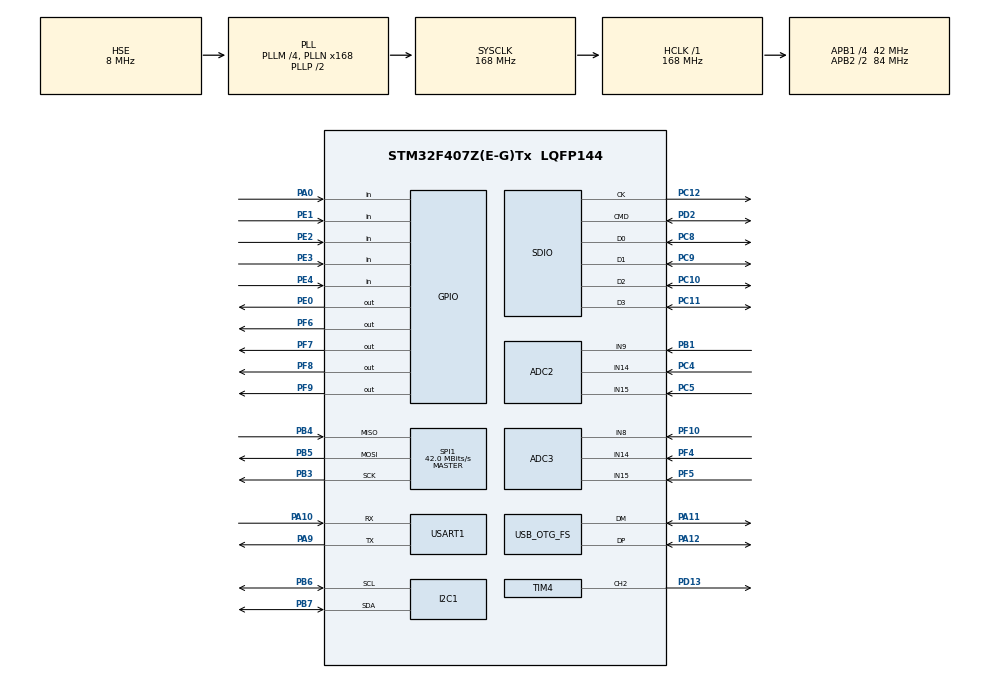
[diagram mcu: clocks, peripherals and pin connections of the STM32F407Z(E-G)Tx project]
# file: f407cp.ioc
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ADC2.Channel-0\#ChannelRegularConversion=ADC_CHANNEL_14
ADC2.ClockPrescaler=ADC_CLOCK_SYNC_PCLK_DIV4
ADC2.NbrOfConversionFlag=1
ADC2.Rank-0\#ChannelRegularConversion=1
ADC2.SamplingTime-0\#ChannelRegularConversion=ADC_SAMPLETIME_3CYCLES
ADC3.Channel-0\#ChannelRegularConversion=ADC_CHANNEL_8
ADC3.ClockPrescaler=ADC_CLOCK_SYNC_PCLK_DIV4
ADC3.NbrOfConversionFlag=1
ADC3.Rank-0\#ChannelRegularConversion=1
ADC3.SamplingTime-0\#ChannelRegularConversion=ADC_SAMPLETIME_3CYCLES
Dma.I2C1_RX.5.Direction=DMA_PERIPH_TO_MEMORY
Dma.I2C1_RX.5.FIFOMode=DMA_FIFOMODE_DISABLE
Dma.I2C1_RX.5.Instance=DMA1_Stream0
Dma.I2C1_RX.5.MemDataAlignment=DMA_MDATAALIGN_BYTE
Dma.I2C1_RX.5.MemInc=DMA_MINC_ENABLE
Dma.I2C1_RX.5.Mode=DMA_NORMAL
Dma.I2C1_RX.5.PeriphDataAlignment=DMA_PDATAALIGN_BYTE
Dma.I2C1_RX.5.PeriphInc=DMA_PINC_DISABLE
Dma.I2C1_RX.5.Priority=DMA_PRIORITY_LOW
Dma.I2C1_TX.4.Direction=DMA_MEMORY_TO_PERIPH
Dma.I2C1_TX.4.FIFOMode=DMA_FIFOMODE_DISABLE
Dma.I2C1_TX.4.Instance=DMA1_Stream6
Dma.I2C1_TX.4.MemDataAlignment=DMA_MDATAALIGN_BYTE
Dma.I2C1_TX.4.MemInc=DMA_MINC_ENABLE
Dma.I2C1_TX.4.Mode=DMA_NORMAL
Dma.I2C1_TX.4.PeriphDataAlignment=DMA_PDATAALIGN_BYTE
Dma.I2C1_TX.4.PeriphInc=DMA_PINC_DISABLE
Dma.I2C1_TX.4.Priority=DMA_PRIORITY_LOW
Dma.Request0=SDIO_RX
Dma.Request1=SDIO_TX
Dma.Request2=SPI1_RX
Dma.Request3=SPI1_TX
Dma.Request4=I2C1_TX
Dma.Request5=I2C1_RX
Dma.SDIO_RX.0.Direction=DMA_PERIPH_TO_MEMORY
Dma.SDIO_RX.0.FIFOMode=DMA_FIFOMODE_ENABLE
Dma.SDIO_RX.0.FIFOThreshold=DMA_FIFO_THRESHOLD_FULL
Dma.SDIO_RX.0.Instance=DMA2_Stream3
Dma.SDIO_RX.0.MemBurst=DMA_MBURST_INC4
Dma.SDIO_RX.0.MemDataAlignment=DMA_MDATAALIGN_WORD
Dma.SDIO_RX.0.MemInc=DMA_MINC_ENABLE
Dma.SDIO_RX.0.Mode=DMA_PFCTRL
Dma.SDIO_RX.0.PeriphBurst=DMA_PBURST_INC4
Dma.SDIO_RX.0.PeriphDataAlignment=DMA_PDATAALIGN_WORD
Dma.SDIO_RX.0.PeriphInc=DMA_PINC_DISABLE
Dma.SDIO_RX.0.Priority=DMA_PRIORITY_LOW
Dma.SDIO_TX.1.Direction=DMA_MEMORY_TO_PERIPH
Dma.SDIO_TX.1.FIFOMode=DMA_FIFOMODE_ENABLE
Dma.SDIO_TX.1.FIFOThreshold=DMA_FIFO_THRESHOLD_FULL
Dma.SDIO_TX.1.Instance=DMA2_Stream6
Dma.SDIO_TX.1.MemBurst=DMA_MBURST_INC4
Dma.SDIO_TX.1.MemDataAlignment=DMA_MDATAALIGN_WORD
Dma.SDIO_TX.1.MemInc=DMA_MINC_ENABLE
Dma.SDIO_TX.1.Mode=DMA_PFCTRL
Dma.SDIO_TX.1.PeriphBurst=DMA_PBURST_INC4
Dma.SDIO_TX.1.PeriphDataAlignment=DMA_PDATAALIGN_WORD
Dma.SDIO_TX.1.PeriphInc=DMA_PINC_DISABLE
Dma.SDIO_TX.1.Priority=DMA_PRIORITY_LOW
Dma.SPI1_RX.2.Direction=DMA_PERIPH_TO_MEMORY
Dma.SPI1_RX.2.FIFOMode=DMA_FIFOMODE_DISABLE
Dma.SPI1_RX.2.Instance=DMA2_Stream0
Dma.SPI1_RX.2.MemDataAlignment=DMA_MDATAALIGN_BYTE
Dma.SPI1_RX.2.MemInc=DMA_MINC_ENABLE
Dma.SPI1_RX.2.Mode=DMA_NORMAL
Dma.SPI1_RX.2.PeriphDataAlignment=DMA_PDATAALIGN_BYTE
Dma.SPI1_RX.2.PeriphInc=DMA_PINC_DISABLE
Dma.SPI1_RX.2.Priority=DMA_PRIORITY_LOW
Dma.SPI1_TX.3.Direction=DMA_MEMORY_TO_PERIPH
Dma.SPI1_TX.3.FIFOMode=DMA_FIFOMODE_DISABLE
Dma.SPI1_TX.3.Instance=DMA2_Stream5
Dma.SPI1_TX.3.MemDataAlignment=DMA_MDATAALIGN_BYTE
Dma.SPI1_TX.3.MemInc=DMA_MINC_ENABLE
Dma.SPI1_TX.3.Mode=DMA_NORMAL
Dma.SPI1_TX.3.PeriphDataAlignment=DMA_PDATAALIGN_BYTE
Dma.SPI1_TX.3.PeriphInc=DMA_PINC_DISABLE
Dma.SPI1_TX.3.Priority=DMA_PRIORITY_LOW
FATFS.BSP.number=1
FATFS.USE_DMA_CODE_SD=1
FATFS._FS_EXFAT=0
FATFS._MAX_LFN=64
FATFS._USE_LFN=2
FATFS._USE_MKFS=1
FATFS0.BSP.STBoard=false
FATFS0.BSP.api=Unknown
FATFS0.BSP.instance=PE1
FATFS0.BSP.ip=GPIO
FATFS0.BSP.mode=Input
FATFS0.BSP.name=Detect_SDIO
FATFS0.BSP.solution=PE1
Mcu.Family=STM32F4
Mcu.Name=STM32F407Z(E-G)Tx
Mcu.Package=LQFP144
NVIC.DMA1_Stream0_IRQn=true\:0\:0\:false\:false\:true\:false\:true\:true
NVIC.DMA1_Stream6_IRQn=true\:0\:0\:false\:false\:true\:false\:true\:true
NVIC.DMA2_Stream0_IRQn=true\:0\:0\:false\:false\:true\:false\:true\:true
NVIC.DMA2_Stream3_IRQn=true\:0\:0\:false\:false\:true\:false\:true\:true
NVIC.DMA2_Stream5_IRQn=true\:0\:0\:false\:false\:true\:false\:true\:true
NVIC.DMA2_Stream6_IRQn=true\:0\:0\:false\:false\:true\:false\:true\:true
NVIC.I2C1_ER_IRQn=true\:0\:0\:false\:false\:true\:true\:true\:true
NVIC.I2C1_EV_IRQn=true\:0\:0\:false\:false\:true\:true\:true\:true
NVIC.OTG_FS_IRQn=true\:0\:0\:false\:false\:true\:false\:true\:true
NVIC.PriorityGroup=NVIC_PRIORITYGROUP_4
NVIC.USART1_IRQn=true\:0\:0\:false\:false\:true\:true\:true\:true
PA0-WKUP.GPIO_PuPd=GPIO_PULLUP
PA0-WKUP.Signal=GPIO_Input
PA10.Mode=Asynchronous
PA10.Signal=USART1_RX
PA11.Mode=Device_Only
PA11.Signal=USB_OTG_FS_DM
PA12.Mode=Device_Only
PA12.Signal=USB_OTG_FS_DP
PA13.Mode=Serial_Wire
PA13.Signal=SYS_JTMS-SWDIO
PA14.Mode=Serial_Wire
PA14.Signal=SYS_JTCK-SWCLK
PA9.Mode=Asynchronous
PA9.Signal=USART1_TX
PB1.Signal=ADCx_IN9
PB3.Mode=Full_Duplex_Master
PB3.Signal=SPI1_SCK
PB4.Mode=Full_Duplex_Master
PB4.Signal=SPI1_MISO
PB5.Mode=Full_Duplex_Master
PB5.Signal=SPI1_MOSI
PB6.Mode=I2C
PB6.Signal=I2C1_SCL
PB7.Mode=I2C
PB7.Signal=I2C1_SDA
PC10.GPIO_PuPd=GPIO_PULLUP
PC10.Mode=SD_4_bits_Wide_bus
PC10.Signal=SDIO_D2
PC11.GPIO_PuPd=GPIO_PULLUP
PC11.Mode=SD_4_bits_Wide_bus
PC11.Signal=SDIO_D3
PC12.GPIO_PuPd=GPIO_PULLUP
PC12.Mode=SD_4_bits_Wide_bus
PC12.Signal=SDIO_CK
PC14-OSC32_IN.Mode=LSE-External-Oscillator
PC14-OSC32_IN.Signal=RCC_OSC32_IN
PC15-OSC32_OUT.Mode=LSE-External-Oscillator
PC15-OSC32_OUT.Signal=RCC_OSC32_OUT
PC4.Signal=ADCx_IN14
PC5.Signal=ADCx_IN15
PC8.GPIO_PuPd=GPIO_PULLUP
PC8.Mode=SD_4_bits_Wide_bus
PC8.Signal=SDIO_D0
PC9.GPIO_PuPd=GPIO_PULLUP
PC9.Mode=SD_4_bits_Wide_bus
PC9.Signal=SDIO_D1
PD13.Signal=S_TIM4_CH2
PD2.GPIO_PuPd=GPIO_PULLUP
PD2.Mode=SD_4_bits_Wide_bus
PD2.Signal=SDIO_CMD
PE0.Signal=GPIO_Output
PE1.GPIO_PuPd=GPIO_PULLUP
PE1.Signal=GPIO_Input
PE10.Signal=TIM1_CH2N
PE11.Signal=S_TIM1_CH2
PE12.Signal=TIM1_CH3N
PE13.Signal=S_TIM1_CH3
PE2.GPIO_PuPd=GPIO_PULLUP
PE2.Signal=GPIO_Input
PE3.GPIO_PuPd=GPIO_PULLUP
PE3.Signal=GPIO_Input
PE4.GPIO_PuPd=GPIO_PULLUP
PE4.Signal=GPIO_Input
PE8.Signal=TIM1_CH1N
PE9.Signal=S_TIM1_CH1
PF10.Mode=IN8
PF10.Signal=ADC3_IN8
PF4.Mode=IN14
PF4.Signal=ADC3_IN14
PF5.Mode=IN15
PF5.Signal=ADC3_IN15
PF6.GPIO_PuPd=GPIO_NOPULL
PF6.PinState=GPIO_PIN_RESET
PF6.Signal=GPIO_Output
PF7.PinState=GPIO_PIN_RESET
PF7.Signal=GPIO_Output
PF8.PinState=GPIO_PIN_RESET
PF8.Signal=GPIO_Output
PF9.GPIO_PuPd=GPIO_NOPULL
PF9.PinState=GPIO_PIN_RESET
PF9.Signal=GPIO_Output
PH0-OSC_IN.Mode=HSE-External-Oscillator
PH0-OSC_IN.Signal=RCC_OSC_IN
PH1-OSC_OUT.Mode=HSE-External-Oscillator
PH1-OSC_OUT.Signal=RCC_OSC_OUT
ProjectManager.HeapSize=0x200
ProjectManager.StackSize=0x1000
ProjectManager.TargetToolchain=CMake
RCC.48MHZClocksFreq_Value=48000000
RCC.AHBFreq_Value=168000000
RCC.APB1CLKDivider=RCC_HCLK_DIV4
RCC.APB1Freq_Value=42000000
RCC.APB1TimFreq_Value=84000000
RCC.APB2CLKDivider=RCC_HCLK_DIV2
RCC.APB2Freq_Value=84000000
RCC.APB2TimFreq_Value=168000000
RCC.CortexFreq_Value=168000000
RCC.HCLKFreq_Value=168000000
RCC.HSE_VALUE=8000000
RCC.HSI_VALUE=16000000
RCC.PLLM=4
RCC.PLLN=168
RCC.PLLQ=7
RCC.RCC_RTC_Clock_SourceVirtual=RCC_RTCCLKSOURCE_LSE
RCC.SYSCLKFreq_VALUE=168000000
RCC.SYSCLKSource=RCC_SYSCLKSOURCE_PLLCLK
RCC.VCOOutputFreq_Value=336000000
SDIO.ClockDiv=2
SH.ADCx_IN14.0=ADC2_IN14,IN14
SH.ADCx_IN15.0=ADC2_IN15,IN15
SH.ADCx_IN9.0=ADC2_IN9,IN9
SH.S_TIM1_CH1.0=TIM1_CH1
SH.S_TIM1_CH2.0=TIM1_CH2
SH.S_TIM1_CH3.0=TIM1_CH3
SH.S_TIM4_CH2.0=TIM4_CH2,PWM Generation2 CH2
SPI1.CalculateBaudRate=42.0 MBits/s
SPI1.Direction=SPI_DIRECTION_2LINES
SPI1.Mode=SPI_MODE_MASTER
SPI1.VirtualType=VM_MASTER
TIM4.AutoReloadPreload=TIM_AUTORELOAD_PRELOAD_ENABLE
TIM4.Channel-PWM\ Generation2\ CH2=TIM_CHANNEL_2
TIM4.Period=1000-1
TIM4.Prescaler=84-1
TIM4.Pulse-PWM\ Generation2\ CH2=500
USART1.VirtualMode=VM_ASYNC
USB_DEVICE.CLASS_NAME_FS=CDC
USB_DEVICE.VirtualMode-CDC_FS=Cdc
USB_DEVICE.VirtualModeFS=Cdc_FS
USB_OTG_FS.VirtualMode=Device_Only
VP_FATFS_VS_SDIO.Mode=SDIO
VP_RTC_VS_RTC_Activate.Mode=RTC_Enabled
VP_RTC_VS_RTC_Calendar.Mode=RTC_Calendar
VP_TIM4_VS_ClockSourceINT.Mode=Internal
VP_USB_DEVICE_VS_USB_DEVICE_CDC_FS.Mode=CDC_FS
board=custom

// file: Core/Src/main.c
/* USER CODE BEGIN Header */
/**
 ******************************************************************************
 * @file           : main.c
 * @brief          : Main program body
 ******************************************************************************
 * @attention
 *
 * Copyright (c) 2026 STMicroelectronics.
 * All rights reserved.
 *
 * This software is licensed under terms that can be found in the LICENSE file
 * in the root directory of this software component.
 * If no LICENSE file comes with this software, it is provided AS-IS.
 *
 ******************************************************************************
 */
/* USER CODE END Header */
#include "main.h"
#include "adc.h"
#include "dma.h"
#include "fatfs.h"
#include "i2c.h"
#include "rtc.h"
#include "sdio.h"
#include "spi.h"
#include "tim.h"
#include "usart.h"
#include "usb_device.h"
#include "gpio.h"

/* USER CODE BEGIN Includes */
#include "manifest.h"
#include <stdio.h>

/* USER CODE END Includes */

void SystemClock_Config(void);

/* USER CODE BEGIN 0 */
static void TOS_KeepSplashBacklightOn(void) {
  __HAL_RCC_GPIOD_CLK_ENABLE();
  GPIO_InitTypeDef GPIO_InitStruct = {0};
  GPIO_InitStruct.Pin = GPIO_PIN_11 | GPIO_PIN_12 | GPIO_PIN_14;
  GPIO_InitStruct.Mode = GPIO_MODE_OUTPUT_PP;
  GPIO_InitStruct.Pull = GPIO_NOPULL;
  GPIO_InitStruct.Speed = GPIO_SPEED_FREQ_VERY_HIGH;
  HAL_GPIO_Init(GPIOD, &GPIO_InitStruct);
  HAL_GPIO_WritePin(GPIOD, GPIO_PIN_11 | GPIO_PIN_14, GPIO_PIN_SET);

  GPIO_InitStruct.Pin = GPIO_PIN_13;
  GPIO_InitStruct.Mode = GPIO_MODE_OUTPUT_PP;
  GPIO_InitStruct.Pull = GPIO_NOPULL;
  GPIO_InitStruct.Speed = GPIO_SPEED_FREQ_HIGH;
  HAL_GPIO_Init(GPIOD, &GPIO_InitStruct);
  HAL_GPIO_WritePin(GPIOD, GPIO_PIN_13, GPIO_PIN_SET);
  HAL_GPIO_WritePin(GPIOD, GPIO_PIN_12, GPIO_PIN_RESET);
}

/* USER CODE END 0 */

int main(void)
{

  /* USER CODE BEGIN 1 */

  /* system_stm32f4xx.c is shared by the independently linked images, so its
   * CubeMX vector-offset macro cannot safely be image-specific. Relocate the
   * SYSTEM vector table before HAL_Init enables SysTick. */
  SCB->VTOR = TOS_PART_SYSTEM_ADDRESS;
  __DSB();
  __ISB();
  __enable_irq();

  /* USER CODE END 1 */

  /* MCU Configuration--------------------------------------------------------*/

  /* Reset of all peripherals, Initializes the Flash interface and the Systick. */
  HAL_Init();

  /* Configure the system clock */
  SystemClock_Config();

  /* USER CODE BEGIN SysInit */
  TOS_KeepSplashBacklightOn();

  /* USER CODE END SysInit */

  /* Initialize all configured peripherals */
  MX_GPIO_Init();
  MX_DMA_Init();
  MX_ADC2_Init();
  MX_ADC3_Init();
  MX_I2C1_Init();
  MX_USART1_UART_Init();
  MX_SDIO_SD_Init();
  MX_FATFS_Init();
  MX_USB_DEVICE_Init();
  MX_RTC_Init();
  MX_SPI1_Init();
  MX_TIM4_Init();
  /* USER CODE BEGIN 2 */
  HAL_TIM_PWM_Start(&htim4, TIM_CHANNEL_2);
  __HAL_TIM_SET_COMPARE(&htim4, TIM_CHANNEL_2, 1000U);

  APP_Start();
  /* USER CODE END 2 */

  /* Infinite loop */
  while (1) {

  }
}

void SystemClock_Config(void)
{
  RCC_OscInitTypeDef RCC_OscInitStruct = {0};
  RCC_ClkInitTypeDef RCC_ClkInitStruct = {0};

  /** Configure the main internal regulator output voltage
  */
  __HAL_RCC_PWR_CLK_ENABLE();
  __HAL_PWR_VOLTAGESCALING_CONFIG(PWR_REGULATOR_VOLTAGE_SCALE1);

  /** Initializes the RCC Oscillators according to the specified parameters
  * in the RCC_OscInitTypeDef structure.
  */
  RCC_OscInitStruct.OscillatorType = RCC_OSCILLATORTYPE_HSE|RCC_OSCILLATORTYPE_LSE;
  RCC_OscInitStruct.HSEState = RCC_HSE_ON;
  RCC_OscInitStruct.LSEState = RCC_LSE_ON;
  RCC_OscInitStruct.PLL.PLLState = RCC_PLL_ON;
  RCC_OscInitStruct.PLL.PLLSource = RCC_PLLSOURCE_HSE;
  RCC_OscInitStruct.PLL.PLLM = 4;
  RCC_OscInitStruct.PLL.PLLN = 168;
  RCC_OscInitStruct.PLL.PLLP = RCC_PLLP_DIV2;
  RCC_OscInitStruct.PLL.PLLQ = 7;
  if (HAL_RCC_OscConfig(&RCC_OscInitStruct) != HAL_OK)
  {
    Error_Handler();
  }

  /** Initializes the CPU, AHB and APB buses clocks
  */
  RCC_ClkInitStruct.ClockType = RCC_CLOCKTYPE_HCLK|RCC_CLOCKTYPE_SYSCLK
                              |RCC_CLOCKTYPE_PCLK1|RCC_CLOCKTYPE_PCLK2;
  RCC_ClkInitStruct.SYSCLKSource = RCC_SYSCLKSOURCE_PLLCLK;
  RCC_ClkInitStruct.AHBCLKDivider = RCC_SYSCLK_DIV1;
  RCC_ClkInitStruct.APB1CLKDivider = RCC_HCLK_DIV4;
  RCC_ClkInitStruct.APB2CLKDivider = RCC_HCLK_DIV2;

  if (HAL_RCC_ClockConfig(&RCC_ClkInitStruct, FLASH_LATENCY_5) != HAL_OK)
  {
    Error_Handler();
  }
}

void Error_Handler(void)
{
  __disable_irq();
  while (1) {
  }
}
#ifdef USE_FULL_ASSERT
/**
  * @brief  Reports the name of the source file and the source line number
  *         where the assert_param error has occurred.
  * @param  file: pointer to the source file name
  * @param  line: assert_param error line source number
  * @retval None
  */
void assert_failed(uint8_t *file, uint32_t line)
{
  /* USER CODE BEGIN 6 */
  /* User can add his own implementation to report the file name and line
     number, ex: printf("Wrong parameters value: file %s on line %d\r\n", file,
     line) */
  /* USER CODE END 6 */
}
#endif /* USE_FULL_ASSERT */
